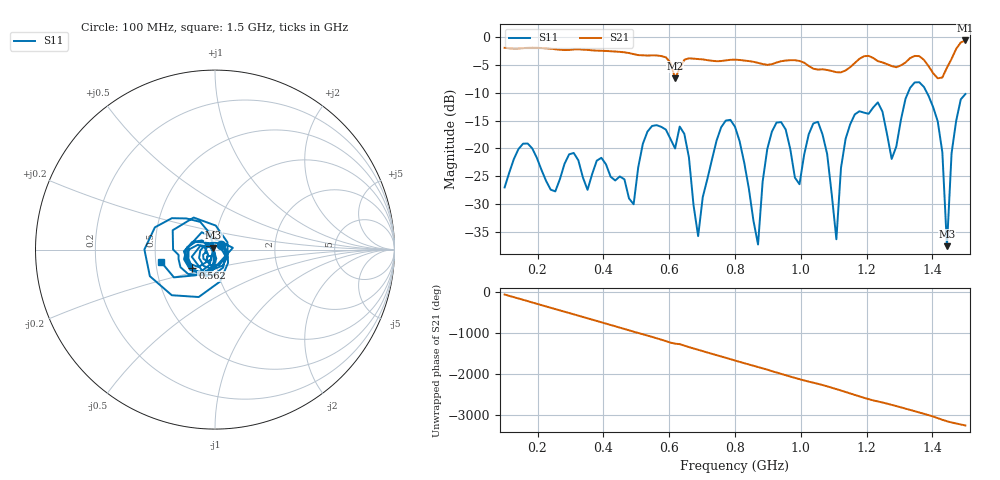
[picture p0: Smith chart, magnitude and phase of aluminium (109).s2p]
! NanoVNA-App
! Date: 2025-09-25 14:56:07
! Start: 100MHz Stop: 1,5GHz Points: 101
! S-Parameter data: F S11 S21 S12 S22
# Hz S RI R 50
!  Frequency  S11_Real  S11_Imag  S21_Real  S21_Imag  S12_Real  S12_Imag  S22_Real  S22_Imag
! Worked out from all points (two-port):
!   101 points, 100 MHz to 1.5 GHz, reference 50 ohm
!   highest |S21| = -0.59 dB at 1.5 GHz (marker M1); lowest = -7.4 dB at 618 MHz (marker M2)
!   |S21| within 3 dB of the highest: start of sweep to 588.5 MHz; 1.46 GHz to end of sweep (the widest 2 of 4)
!   lowest |S11| = -37.6 dB at 1.444 GHz (marker M3), VSWR 1.03, Z = 49.2 + j1.01 ohm
!   |S11| at or under -10 dB: start of sweep to 1.326 GHz; 1.383 GHz to end of sweep
!   S12 and S22 are empty: the file has one direction only
!   S11 on the Smith chart (normalised r, x): 100 MHz: 1.07, +0.06; 562 MHz: 0.76, -0.16; 1.5 GHz: 0.53, -0.08
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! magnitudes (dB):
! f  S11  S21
! 100 MHz  -27.0  -1.9
! 156 MHz  -19.1  -2.0
! 338 MHz  -25.2  -2.2
! 492 MHz  -30.0  -3.0
! 562 MHz  -15.8  -3.3
! 576 MHz  -16.1  -3.4
! 618 MHz  -20.0  -7.4
! 646 MHz  -17.4  -4.1
! 688 MHz  -35.8  -3.9
! 800 MHz  -16.1  -4.0
! 870 MHz  -37.3  -4.6
! 912 MHz  -17.0  -4.9
! 996 MHz  -26.4  -4.3
! 1.038 GHz  -15.5  -5.7
! 1.108 GHz  -36.3  -6.3
! 1.164 GHz  -13.9  -4.6
! 1.276 GHz  -21.9  -5.2
! 1.374 GHz  -8.9  -4.1
! 1.43 GHz  -20.7  -7.2
! 1.444 GHz  -37.6  -5.5
! 1.458 GHz  -20.9  -3.9
! 1.5 GHz  -10.2  -0.6
